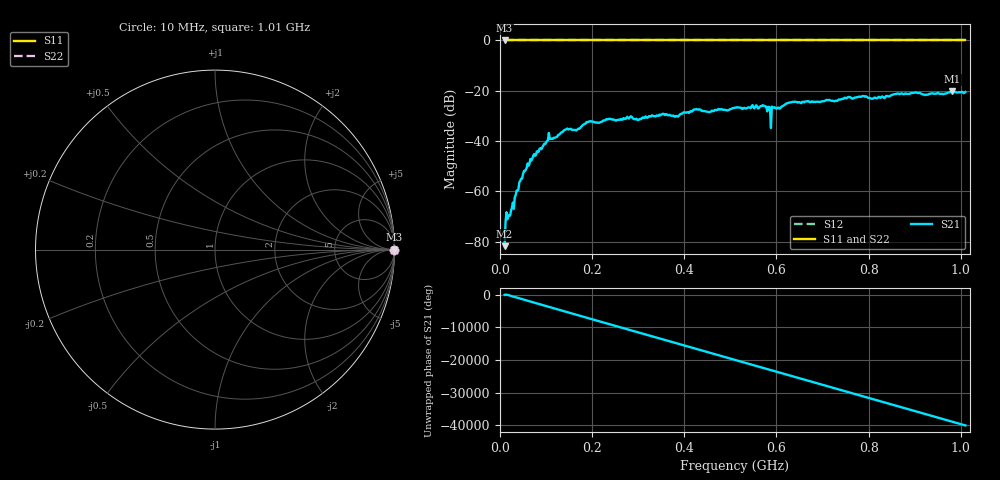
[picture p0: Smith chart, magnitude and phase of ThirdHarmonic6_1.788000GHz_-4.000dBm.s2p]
! 8/16/2025 9:37:17 PM
! C:\ANRITSUVNA\TEMP\TEMP.S2P
! CHANNEL.1
! TR.MEASUREMENT
! RAW.DATA
! RF.CORRECTION.OFF
! AVERAGING.OFF
! IF.BANDWIDTH: 5KHZ
! SWEEPTYPE:  FREQ.SWEEP(Linear)
! Reference Plane Port Info
! PORT:  PORT1  PORT2
! DISTANCE:  0  m  0  m
! TIME:  0  s  0  s
! PHASE.OFFSET:  0  deg.  0  deg.
! LOSS:  0  dB  0  dB
! REF.LOSS:  0  dB  0  dB
! REF.FREQ:  0  Hz  0  Hz
! Power Info
! POWER:  -20  dBm  -20  dBm
! EFF.POWER:  -20  dBm  -20  dBm
! SOURCE.ATTEN:  0  dB  0  dB
! TEST.ATTEN:  0  dB  0  dB
# GHZ S RI R 50.0
! FREQ.GHZ  S11RE  S11IM  S21RE  S21IM  S12RE  S12IM  S22RE  S22IM
!; PortSelection: Port_12
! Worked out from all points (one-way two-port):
!   501 points, 10 MHz to 1.01 GHz, reference 50 ohm
!   highest |S21| = -20.26 dB at 982 MHz (marker M1); lowest = -81.8 dB at 10 MHz (marker M2)
!   lowest |S11| = 0.0 dB at 10 MHz (marker M3)
!   |S11| at or under -10 dB: nowhere
!   |S22| runs from 0.0 to 0.0 dB; largest |S21 - S12| = 1.1
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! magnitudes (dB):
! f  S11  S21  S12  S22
! 10 MHz  0.0  -81.8  0.0  0.0
! 16 MHz  0.0  -71.1  0.0  0.0
! 26 MHz  0.0  -66.4  0.0  0.0
! 46 MHz  0.0  -55.0  0.0  0.0
! 70 MHz  0.0  -47.0  0.0  0.0
! 106 MHz  0.0  -36.8  0.0  0.0
! 178 MHz  0.0  -34.0  0.0  0.0
! 196 MHz  0.0  -32.1  0.0  0.0
! 344 MHz  0.0  -30.0  0.0  0.0
! 384 MHz  0.0  -30.1  0.0  0.0
! 424 MHz  0.0  -27.4  0.0  0.0
! 454 MHz  0.0  -28.5  0.0  0.0
! 510 MHz  0.0  -26.7  0.0  0.0
! 572 MHz  0.0  -25.9  0.0  0.0
! 582 MHz  0.0  -26.4  0.0  0.0
! 584 MHz  0.0  -26.5  0.0  0.0
! 594 MHz  0.0  -26.7  0.0  0.0
! 628 MHz  0.0  -24.7  0.0  0.0
! 678 MHz  0.0  -24.3  0.0  0.0
! 844 MHz  0.0  -22.3  0.0  0.0
! 982 MHz  0.0  -20.3  0.0  0.0
! 1.01 GHz  0.0  -20.5  0.0  0.0
